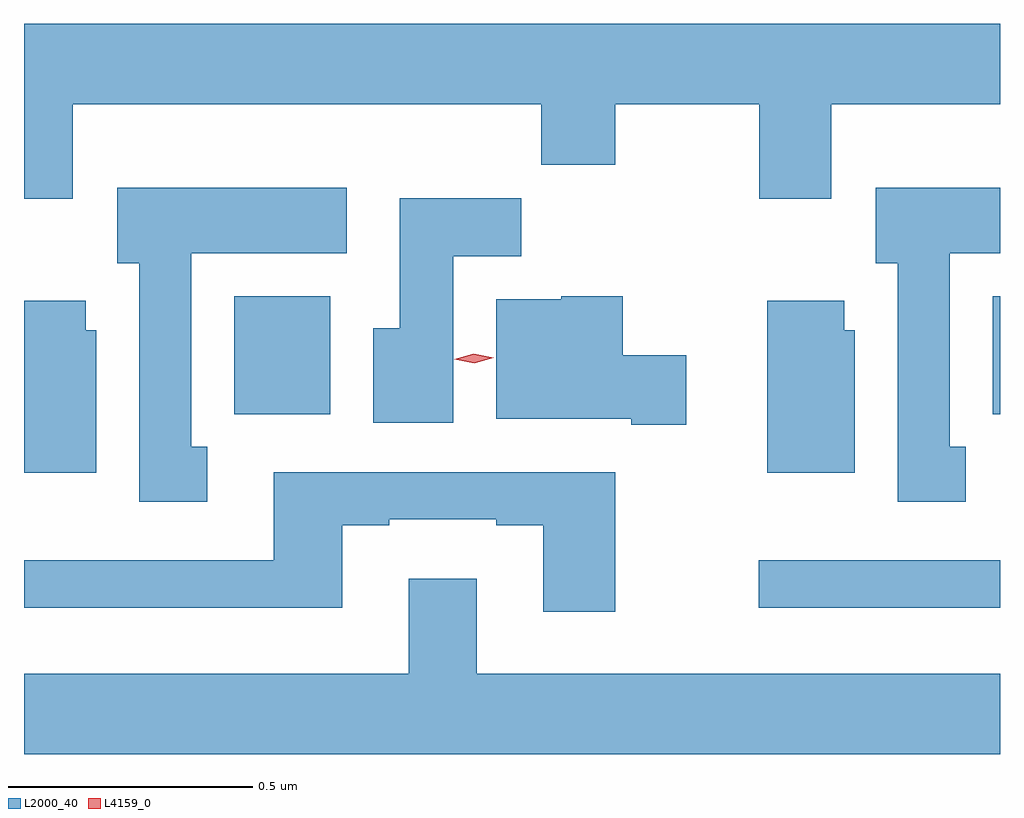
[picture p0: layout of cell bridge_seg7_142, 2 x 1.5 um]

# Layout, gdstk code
import gdstk
lib = gdstk.Library(unit=1e-6, precision=1e-09)
def R(c, l, rs):  # rectangles x0, y0, x1, y1
    for r in rs: c.add(gdstk.rectangle(r[:2], r[2:], *l))
def P(c, l, *ps):  # polygons
    for p in ps: c.add(gdstk.Polygon(p, *l))
L2000_40 = (2000, 40)
L4159_0 = (4159, 0)

bridge_seg7_142 = lib.new_cell('bridge_seg7_142')
R(bridge_seg7_142, L2000_40, [(823.113,1012.904,823.607,1013.001), (822.038,1013.3,822.235,1013.542), (823.592,1013.3,823.607,1013.542)])
P(bridge_seg7_142, L2000_40, [(821.707,1013.936),(822.667,1013.936),(822.667,1013.812),(822.819,1013.812),(822.819,1013.936),(823.114,1013.936),(823.114,1013.742),(823.261,1013.742),(823.261,1013.936),(823.607,1013.936),(823.607,1014.1),(821.607,1014.1),(821.607,1013.742),(821.707,1013.742)],
  [(823.537,1013.234),(823.504,1013.234),(823.504,1013.63),(823.607,1013.63),(823.607,1013.764),(823.352,1013.764),(823.352,1013.61),(823.397,1013.61),(823.397,1013.121),(823.537,1013.121)],
  [(821.983,1013.234),(821.95,1013.234),(821.95,1013.63),(822.268,1013.63),(822.268,1013.764),(821.798,1013.764),(821.798,1013.61),(821.843,1013.61),(821.843,1013.121),(821.983,1013.121)],
  [(822.487,1013.624),(822.626,1013.624),(822.626,1013.743),(822.377,1013.743),(822.377,1013.476),(822.323,1013.476),(822.323,1013.283),(822.487,1013.283)],
  [(822.964,1013.421),(822.834,1013.421),(822.834,1013.542),(822.708,1013.542),(822.708,1013.536),(822.575,1013.536),(822.575,1013.291),(822.851,1013.291),(822.851,1013.279),(822.964,1013.279)],
  [(821.755,1013.472),(821.734,1013.472),(821.734,1013.533),(821.607,1013.533),(821.607,1013.18),(821.755,1013.18)],
  [(823.309,1013.472),(823.288,1013.472),(823.288,1013.533),(823.13,1013.533),(823.13,1013.18),(823.309,1013.18)],
  [(822.819,1013.181),(822.119,1013.181),(822.119,1013.001),(821.607,1013.001),(821.607,1012.904),(822.259,1012.904),(822.259,1013.073),(822.355,1013.073),(822.355,1013.085),(822.575,1013.085),(822.575,1013.073),(822.671,1013.073),(822.671,1012.896),(822.819,1012.896)],
  [(823.607,1012.768),(822.535,1012.768),(822.535,1012.963),(822.395,1012.963),(822.395,1012.768),(821.607,1012.768),(821.607,1012.604),(823.607,1012.604)])
P(bridge_seg7_142, L4159_0, [(822.53,1013.405),(822.489,1013.413),(822.489,1013.413),(822.489,1013.413),(822.529,1013.424),(822.57,1013.416),(822.57,1013.416),(822.57,1013.416)])

lib.write_gds('bridge_seg7_142.gds')
